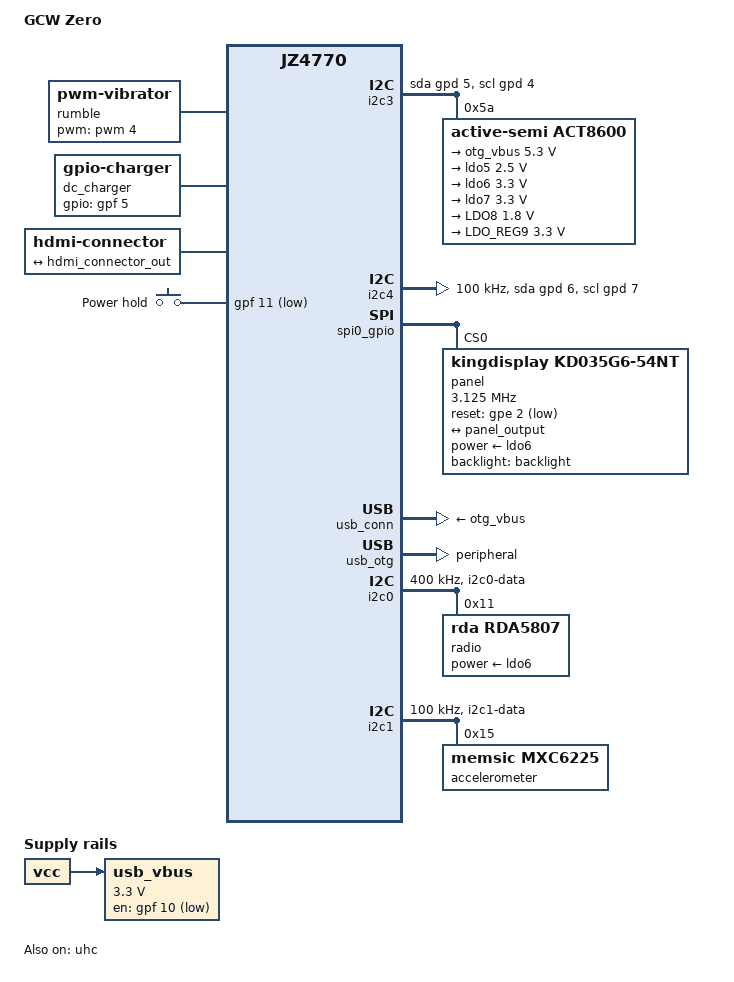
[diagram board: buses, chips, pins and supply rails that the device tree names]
// SPDX-License-Identifier: GPL-2.0
/dts-v1/;

#include "jz4770.dtsi"
#include "bits/gcw0-base.dtsi"

/ {
	compatible = "gcw,zero", "ingenic,jz4770";
	model = "GCW Zero";

	usb_vbus: regulator-2 {
		compatible = "regulator-fixed";
		regulator-name = "USB Power";
		gpio = <&gpf 10 0>;
		regulator-always-on; /* always ON for now */

		regulator-min-microvolt = <3300000>;
		regulator-max-microvolt = <3300000>;
		vin-supply = <&vcc>;
	};

	rumble {
		compatible = "pwm-vibrator";
		pwms = <&pwm 4 2000000 0>;
		pwm-names = "enable";

		pinctrl-names = "default";
		pinctrl-0 = <&pins_pwm4>;
	};

	i2c3: i2c-controller@3 {
		compatible = "i2c-gpio";
		#address-cells = <1>;
		#size-cells = <0>;

		sda-gpios = <&gpd 5 GPIO_ACTIVE_HIGH>;
		scl-gpios = <&gpd 4 GPIO_ACTIVE_HIGH>;
		i2c-gpio,delay-us = <2>; /* 250 kHz */

		act8600: pmic@5a {
			compatible = "active-semi,act8600";
			reg = <0x5a>;

			regulators {
				/* USB OTG */
				otg_vbus: SUDCDC_REG4 {
					/*
					 * 5.3V instead of 5.0V to compensate
					 * for the voltage drop of a diode
					 * between the regulator and the
					 * connector.
					 */
					regulator-min-microvolt = <5300000>;
					regulator-max-microvolt = <5300000>;
					inl-supply = <&vcc>;
				};

				/*
				 * When this is off, there is no sound, but also
				 * no USB networking.
				 */
				ldo5: LDO5 {
					regulator-min-microvolt = <2500000>;
					regulator-max-microvolt = <2500000>;
					inl-supply = <&vcc>;
				};

				/* LCD panel and FM radio */
				ldo6: LDO6 {
					regulator-min-microvolt = <3300000>;
					regulator-max-microvolt = <3300000>;
					inl-supply = <&vcc>;
				};

				/* HDMI chip */
				ldo7: LDO7 {
					regulator-min-microvolt = <3300000>;
					regulator-max-microvolt = <3300000>;
					inl-supply = <&vcc>;
				};

				/*
				 * The colors on the LCD are wrong when this is
				 * off. Which is strange, since the LCD panel
				 * data sheet only mentions a 3.3V input.
				 */
				LDO8 {
					regulator-min-microvolt = <1800000>;
					regulator-max-microvolt = <1800000>;
					regulator-always-on;
					inl-supply = <&vcc>;
				};

				/* RTC fixed 3.3V */
				LDO_REG9 {
					regulator-min-microvolt = <3300000>;
					regulator-max-microvolt = <3300000>;
					regulator-always-on;
					inl-supply = <&vcc>;
				};

				/* Unused fixed 1.2V */
				LDO_REG10 {
					inl-supply = <&vcc>;
				};
			};
		};
	};

	i2c4: i2c-controller@4 {
		compatible = "i2c-gpio";
		#address-cells = <1>;
		#size-cells = <0>;

		sda-gpios = <&gpd 6 GPIO_ACTIVE_HIGH>;
		scl-gpios = <&gpd 7 GPIO_ACTIVE_HIGH>;
		clock-frequency = <100000>;

		it6610: hdmi@4c {
			status = "disabled"; /* Disable until the driver works */

			compatible = "ite,it6610";
			reg = <0x4c>;

			interrupt-parent = <&gpf>;
			interrupts = <12 0>;
			interrupt-names = "irq";

			reset-gpios = <&gpe 6 GPIO_ACTIVE_LOW>;

			pinctrl-names = "default";
			pinctrl-0 = <&pins_it6610>;

			power-supply = <&ldo7>;

			ports {
				#address-cells = <1>;
				#size-cells = <0>;

				port@0 {
					reg = <0>;

					hdmi_input: endpoint {
						bus-width = <24>;
						remote-endpoint = <&hdmi_output>;
					};
				};

				port@1 {
					reg = <1>;

					hdmi_connector_out: endpoint {
						remote-endpoint = <&hdmi_connector_in>;
					};
				};
			};
		};
	};

	dc_charger: dc-charger {
		compatible = "gpio-charger";
		charger-type = "mains";
		gpios = <&gpf 5 GPIO_ACTIVE_HIGH>;

		pinctrl-names = "default";
		pinctrl-0 = <&pins_dc_charger>;
	};

	hdmi-connector {
		compatible = "hdmi-connector";
		label = "hdmi";

		type = "c";

		port {
			hdmi_connector_in: endpoint {
				remote-endpoint = <&hdmi_connector_out>;
			};
		};
	};
};

&headphones_amp {
	VCC-supply = <&ldo5>;
};

&speaker_amp {
	VCC-supply = <&ldo5>;
};

&sound_card {
	simple-audio-card,widgets =
		"Speaker", "Speaker",
		"Headphone", "Headphones",
		"Microphone", "Built-in Mic";
	simple-audio-card,routing =
		"Headphones Amp INL", "LHPOUT",
		"Headphones Amp INR", "RHPOUT",
		"Headphones", "Headphones Amp OUTL",
		"Headphones", "Headphones Amp OUTR",
		"Speaker Amp INL", "LOUT",
		"Speaker Amp INR", "ROUT",
		"Speaker", "Speaker Amp OUTL",
		"Speaker", "Speaker Amp OUTR",
		"LLINEIN", "Cap-less",
		"RLINEIN", "Cap-less",
		"Built-in Mic", "MICBIAS",
		"MIC1P", "Built-in Mic",
		"MIC1N", "Built-in Mic";
	simple-audio-card,pin-switches = "Speaker", "Headphones";
};

&btn6 {
	label = "Button Y";
};

&btn7 {
	label = "Button X";
};

&gpio_keys {
	btn13: button-13 {
		label = "Power hold";
		linux,code = <KEY_PAUSE>;
		linux,can-disable;
		gpios = <&gpf 11 GPIO_ACTIVE_LOW>;
	};
};

&spi0_gpio {
	status = "okay";

	panel: nt39016@0 {
		compatible = "kingdisplay,kd035g6-54nt";
		reg = <0>;

		spi-max-frequency = <3125000>;
		spi-3wire;

		reset-gpios = <&gpe 2 GPIO_ACTIVE_LOW>;

		backlight = <&backlight>;
		power-supply = <&ldo6>;

		port {
			panel_input: endpoint {
				remote-endpoint = <&panel_output>;
			};
		};
	};
};

&usb_conn {
	vbus-supply = <&otg_vbus>;
};

&usb_otg {
	/*
	 * The GCW Zero's ID detect mechanism has a tendency to toast itself,
	 * causing it to misdetect the USB mode and dumping current on the wires
	 * when it's not supposed to, causing further damage elsewhere.
	 * To support devices with the toasted ID detection, as well as prevent
	 * potential hardware damage on yet unaffected devices, force USB mode
	 * to peripheral only.
	 */
	dr_mode = "peripheral";
};

&pmu {
	power-supplies = <&act8600>, <&usb_conn>, <&dc_charger>;
};

&js_axis0 {
	abs-range = <3300 0>;
};

&js_axis1 {
	abs-range = <0 3300>;
};

&pinctrl {
	pins_i2c0: i2c0 {
		function = "i2c0";
		groups = "i2c0-data";
	};

	pins_i2c1: i2c1 {
		function = "i2c1";
		groups = "i2c1-data";
	};

	pins_it6610: it6610 {
		pins = "PF12";
		bias-pull-up;
	};

	pins_pwm4: pwm4 {
		function = "pwm4";
		groups = "pwm4";
	};

	pins_dc_charger: dc-charger {
		pins = "PF5";
		bias-pull-down;
	};
};

&uhc {
	/* The WiFi module is connected to the UHC. */
	status = "okay";
};

&otg_phy {
	vcc-supply = <&ldo5>;
};

&i2c0 {
	status = "okay";

	pinctrl-names = "default";
	pinctrl-0 = <&pins_i2c0>;

	clock-frequency = <400000>; /* 400 kHz */

	radio: radio@11 {
		compatible = "rda,rda5807";
		reg = <0x11>;

		rda,lnan;
		rda,lnap;
		rda,analog-out;

		power-supply = <&ldo6>;
	};
};

&i2c1 {
	status = "okay";

	pinctrl-names = "default";
	pinctrl-0 = <&pins_i2c1>;

	clock-frequency = <100000>; /* 100 kHz */

	accelerometer@15 {
		compatible = "memsic,mxc6225";
		reg = <0x15>;
	};
};

&lcd_ports {
	port@0 {
		#address-cells = <1>;
		#size-cells = <0>;
		reg = <0>;

		panel_output: endpoint@0 {
			reg = <0>;
			remote-endpoint = <&panel_input>;
		};

		hdmi_output: endpoint@1 {
			reg = <1>;
			remote-endpoint = <&hdmi_input>;
		};
	};
};
